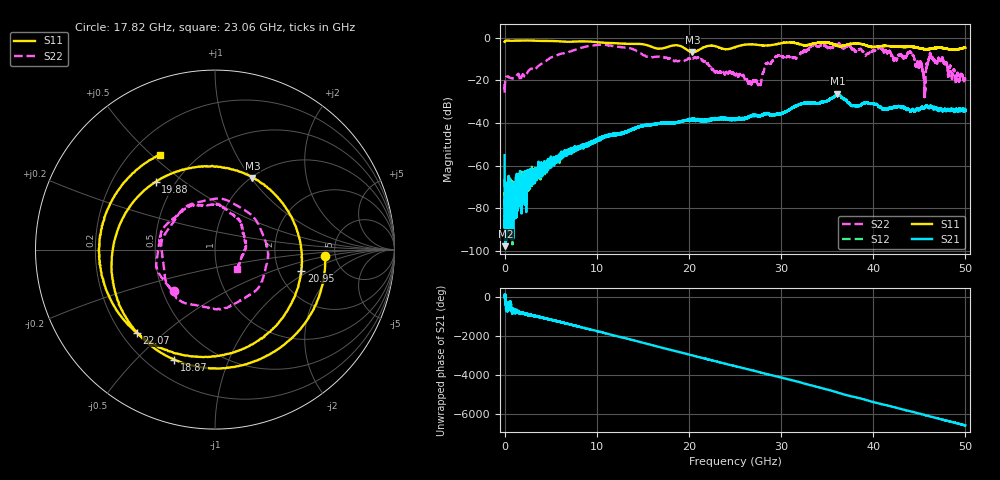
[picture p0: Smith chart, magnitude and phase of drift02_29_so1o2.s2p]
!Created with skrf (http://scikit-rf.org).
# Hz S RI R 50.0
!freq ReS11 ImS11 ReS21 ImS21 ReS12 ImS12 ReS22 ImS22
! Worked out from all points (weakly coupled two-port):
!   10001 points, 300 kHz to 50 GHz, reference 50 ohm
!   highest |S21| = -26.27 dB at 36.12 GHz (marker M1); lowest = -97.8 dB at 85.3 MHz (marker M2)
!   lowest |S11| = -6.9 dB at 20.38 GHz (marker M3), VSWR 2.64, Z = 50.7 + j50.8 ohm
!   |S11| at or under -10 dB: nowhere
!   |S22| runs from -28.8 to -2.5 dB; largest |S21 - S12| = 0.0046
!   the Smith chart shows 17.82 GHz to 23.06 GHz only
!   S11 on the Smith chart (normalised r, x): 17.82 GHz: 4.13, -0.46; 18.87 GHz: 0.30, -0.65; 19.88 GHz: 0.39, +0.40; 20.95 GHz: 2.67, -0.82; 22.07 GHz: 0.26, -0.41; 23.06 GHz: 0.31, +0.53
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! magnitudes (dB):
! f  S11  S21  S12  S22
! 300 kHz  -2.0  -55.1  -66.3  -21.8
! 85.3 MHz  -1.5  -97.8  -75.6  -19.4
! 830.3 MHz  -1.5  -70.1  -72.7  -19.1
! 8.335 GHz  -1.7  -50.5  -50.8  -4.7
! 16.67 GHz  -5.2  -40.1  -40.5  -9.0
! 17.82 GHz  -4.2  -40.1  -40.0  -9.7
! 18.87 GHz  -3.7  -39.3  -39.7  -11.0
! 19.88 GHz  -6.0  -38.8  -38.7  -9.9
! 20.38 GHz  -6.9  -38.4  -38.2  -9.6
! 20.95 GHz  -6.1  -38.8  -38.1  -9.3
! 22.07 GHz  -3.9  -39.2  -38.3  -12.4
! 23.06 GHz  -4.3  -38.1  -37.9  -15.9
! 25 GHz  -4.5  -38.2  -38.3  -17.6
! 27.62 GHz  -3.5  -37.1  -36.6  -21.9
! 29.54 GHz  -3.0  -36.0  -35.8  -8.8
! 33.34 GHz  -3.0  -30.4  -30.5  -3.8
! 36.12 GHz  -3.8  -26.3  -27.0  -3.3
! 41.67 GHz  -4.0  -33.3  -33.5  -6.3
! 44.12 GHz  -4.2  -34.5  -34.4  -7.2
! 45.5 GHz  -5.4  -32.9  -33.1  -18.4
! 46.29 GHz  -5.2  -32.3  -32.3  -9.2
! 50 GHz  -4.7  -34.2  -34.2  -19.2
